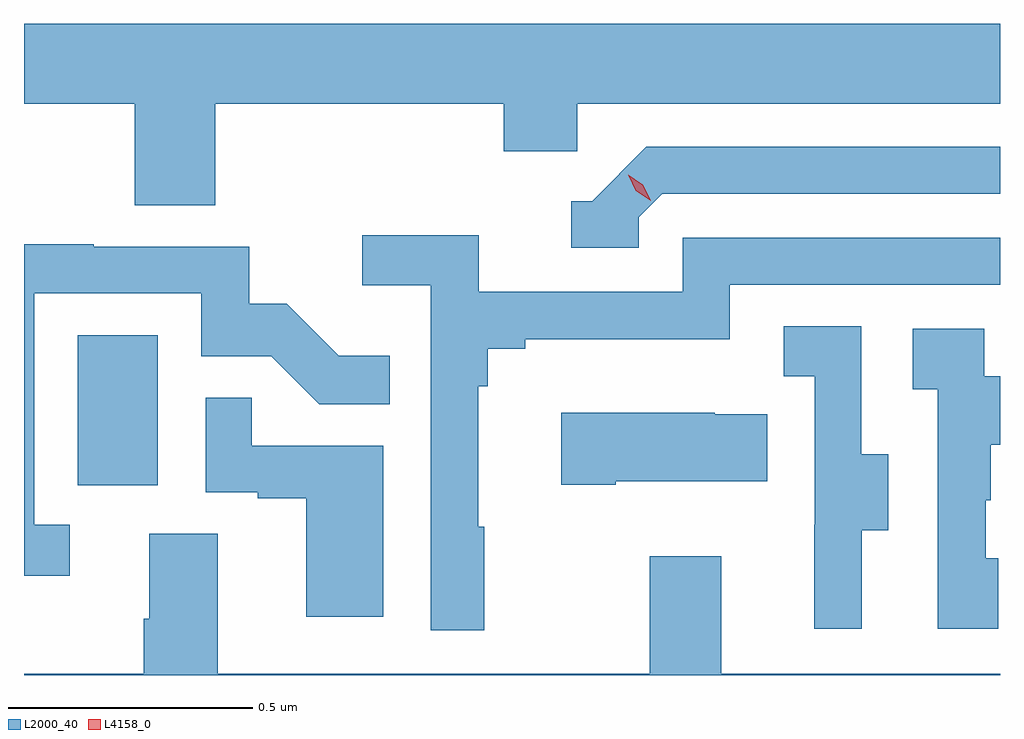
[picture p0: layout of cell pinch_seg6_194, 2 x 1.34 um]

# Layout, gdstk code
import gdstk
lib = gdstk.Library(unit=1e-6, precision=1e-09)
def R(c, l, rs):  # rectangles x0, y0, x1, y1
    for r in rs: c.add(gdstk.rectangle(r[:2], r[2:], *l))
def P(c, l, *ps):  # polygons
    for p in ps: c.add(gdstk.Polygon(p, *l))
L2000_40 = (2000, 40)
L4158_0 = (4158, 0)

pinch_seg6_194 = lib.new_cell('pinch_seg6_194')
R(pinch_seg6_194, L2000_40, [(1053.098,923.91,1053.262,924.217)])
P(pinch_seg6_194, L2000_40, [(1053.38,924.692),(1053.971,924.692),(1053.971,924.594),(1054.122,924.594),(1054.122,924.692),(1054.988,924.692),(1054.988,924.856),(1052.988,924.856),(1052.988,924.692),(1053.215,924.692),(1053.215,924.484),(1053.38,924.484)],
  [(1054.248,924.459),(1054.296,924.507),(1054.988,924.507),(1054.988,924.603),(1054.263,924.603),(1054.152,924.492),(1054.109,924.492),(1054.109,924.396),(1054.248,924.396)],
  [(1053.931,923.825),(1053.919,923.825),(1053.919,924.113),(1053.938,924.113),(1053.938,924.19),(1054.015,924.19),(1054.015,924.209),(1054.434,924.209),(1054.434,924.321),(1054.988,924.321),(1054.988,924.417),(1054.338,924.417),(1054.338,924.306),(1053.92,924.306),(1053.92,924.422),(1053.681,924.422),(1053.681,924.32),(1053.822,924.32),(1053.822,923.613),(1053.931,923.613)],
  [(1053.082,923.829),(1053.009,923.829),(1053.009,924.303),(1053.351,924.303),(1053.351,924.174),(1053.495,924.174),(1053.593,924.076),(1053.737,924.076),(1053.737,924.175),(1053.633,924.175),(1053.526,924.282),(1053.45,924.282),(1053.45,924.399),(1053.131,924.399),(1053.131,924.404),(1052.988,924.404),(1052.988,923.724),(1053.082,923.724)],
  [(1054.705,923.818),(1054.759,923.818),(1054.759,923.973),(1054.704,923.973),(1054.704,924.236),(1054.545,924.236),(1054.545,924.133),(1054.608,924.133),(1054.608,923.829),(1054.607,923.829),(1054.607,923.616),(1054.705,923.616)],
  [(1054.984,923.76),(1054.959,923.76),(1054.959,923.879),(1054.969,923.879),(1054.969,923.993),(1054.988,923.993),(1054.988,924.133),(1054.956,924.133),(1054.956,924.231),(1054.809,924.231),(1054.809,924.107),(1054.86,924.107),(1054.86,923.616),(1054.984,923.616)],
  [(1053.724,923.991),(1053.455,923.991),(1053.455,924.089),(1053.36,924.089),(1053.36,923.895),(1053.467,923.895),(1053.467,923.883),(1053.566,923.883),(1053.566,923.64),(1053.724,923.64)],
  [(1054.201,923.918),(1054.511,923.918),(1054.511,924.055),(1054.403,924.055),(1054.403,924.058),(1054.089,924.058),(1054.089,923.911),(1054.201,923.911)],
  [(1054.988,923.524),(1054.417,923.524),(1054.417,923.764),(1054.27,923.764),(1054.27,923.524),(1053.385,923.524),(1053.385,923.81),(1053.245,923.81),(1053.245,923.636),(1053.233,923.636),(1053.233,923.524),(1052.988,923.524),(1052.988,923.52),(1054.988,923.52)])
P(pinch_seg6_194, L4158_0, [(1054.272,924.493),(1054.242,924.513),(1054.226,924.546),(1054.226,924.546),(1054.226,924.546),(1054.256,924.526),(1054.272,924.494),(1054.272,924.493)])

lib.write_gds('pinch_seg6_194.gds')
